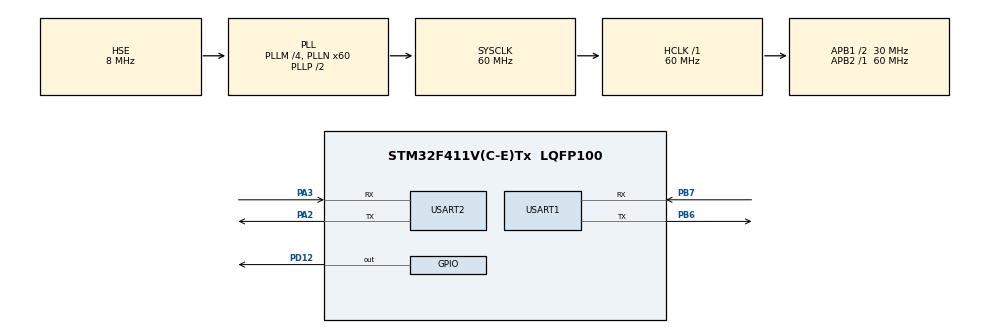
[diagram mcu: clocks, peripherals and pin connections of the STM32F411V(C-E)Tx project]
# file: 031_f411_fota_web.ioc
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Mcu.Family=STM32F4
Mcu.Name=STM32F411V(C-E)Tx
Mcu.Package=LQFP100
NVIC.PriorityGroup=NVIC_PRIORITYGROUP_4
NVIC.USART1_IRQn=true\:0\:0\:false\:false\:true\:true\:true\:true
NVIC.USART2_IRQn=true\:0\:0\:false\:false\:true\:true\:true\:true
PA13.Mode=Serial_Wire
PA13.Signal=SYS_JTMS-SWDIO
PA14.Mode=Serial_Wire
PA14.Signal=SYS_JTCK-SWCLK
PA2.Mode=Asynchronous
PA2.Signal=USART2_TX
PA3.Mode=Asynchronous
PA3.Signal=USART2_RX
PB6.Mode=Asynchronous
PB6.Signal=USART1_TX
PB7.Mode=Asynchronous
PB7.Signal=USART1_RX
PD12.Signal=GPIO_Output
PH0\ -\ OSC_IN.Mode=HSE-External-Oscillator
PH0\ -\ OSC_IN.Signal=RCC_OSC_IN
PH1\ -\ OSC_OUT.Mode=HSE-External-Oscillator
PH1\ -\ OSC_OUT.Signal=RCC_OSC_OUT
ProjectManager.HeapSize=0x200
ProjectManager.StackSize=0x400
ProjectManager.TargetToolchain=STM32CubeIDE
RCC.48MHZClocksFreq_Value=30000000
RCC.AHBFreq_Value=60000000
RCC.APB1CLKDivider=RCC_HCLK_DIV2
RCC.APB1Freq_Value=30000000
RCC.APB1TimFreq_Value=60000000
RCC.APB2Freq_Value=60000000
RCC.APB2TimFreq_Value=60000000
RCC.CortexFreq_Value=60000000
RCC.HCLKFreq_Value=60000000
RCC.HSE_VALUE=8000000
RCC.HSI_VALUE=16000000
RCC.LSE_VALUE=32768
RCC.PLLM=4
RCC.PLLN=60
RCC.PLLSourceVirtual=RCC_PLLSOURCE_HSE
RCC.SYSCLKFreq_VALUE=60000000
RCC.SYSCLKSource=RCC_SYSCLKSOURCE_PLLCLK
RCC.VCOOutputFreq_Value=120000000
USART1.VirtualMode=VM_ASYNC
USART2.VirtualMode=VM_ASYNC
board=custom

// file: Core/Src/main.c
/* USER CODE BEGIN Header */
/**
 ******************************************************************************
 * @file           : main.c
 * @brief          : Main program body
 ******************************************************************************
 * @attention
 *
 * Copyright (c) 2023 STMicroelectronics.
 * All rights reserved.
 *
 * This software is licensed under terms that can be found in the LICENSE file
 * in the root directory of this software component.
 * If no LICENSE file comes with this software, it is provided AS-IS.
 *
 ******************************************************************************
 */
/* USER CODE END Header */
#include "main.h"

/* USER CODE BEGIN Includes */
#include "UartRingbuffer_multi.h"
#include "ESP8266_HAL.h"
#include "parse.h"
#include <string.h>
/* USER CODE END Includes */

/* USER CODE BEGIN PD */
#define SSID "Tho"
#define PASSWORD "12345678"
#define FLASH_ADDRESS_BASE 0x40023C00
#define SECTOR_A 0x08008000 // Sector 2
#define SECTOR_B 0x0800C000 // Sector 3
/* USER CODE END PD */

UART_HandleTypeDef huart1;
UART_HandleTypeDef huart2;

/* USER CODE BEGIN PV */
#define pc_uart &huart1

char recv_buf[2048] = { 0 };
char lat_ver[128] = { 0 };
char fw_buf[1024] = { 0 };
char new = 0;
char current_sector = 0;
/* USER CODE END PV */

void SystemClock_Config(void);
static void MX_GPIO_Init(void);
static void MX_USART2_UART_Init(void);
static void MX_USART1_UART_Init(void);
/* USER CODE BEGIN PFP */
void leds_init() {
	__HAL_RCC_GPIOD_CLK_ENABLE();
	uint32_t *GPIOD_MODER = (uint32_t*) (0x40020C00 + 0x00);
	uint32_t *GPIOD_OTYPER = (uint32_t*) (0x40020C00 + 0x04);
	/* set up PD12, 13, 14, 15 in OUTPUT */
	*GPIOD_MODER &= ~(0xff << 24);
	*GPIOD_MODER |= (0b01 << 24) | (0b01 << 26) | (0b01 << 28) | (0b01 << 30);
	/* set up PD12, 13, 14, 15 in push-pull */
	*GPIOD_OTYPER &= ~(0b1111 << 12);
}

void print_pc(char *str) {
	Uart_sendstring(str, pc_uart);
}

int Erase(int sector_num) {
	if ((sector_num < 0) | (sector_num > 7))
		return -1;
	//1. Check that no flash memory operation is ongoing by checking the BSY bit in the FLASH_SR register
	uint32_t *FLASH_SR = (uint32_t*) (FLASH_ADDRESS_BASE + 0x0c);
	// Wait while the BSY bit is still 1
	while (((*FLASH_SR >> 16) & 1) == 1)
		;
	//2. Set the SER bit and select the sector out of the 12 sectors in the main memory block you wish to erase (SNB) in the FLASH_CR register
	uint32_t *FLASH_CR = (uint32_t*) (FLASH_ADDRESS_BASE + 0x10);
	// After reset, FLASH_CR is locked, have to unlock to config it
	// Check if the CR is locked
	if (((*FLASH_CR >> 31) & 1) == 1) {
		// Make unlock sequence
		uint32_t *FLASH_KEYR = (uint32_t*) (FLASH_ADDRESS_BASE + 0x04);
		*FLASH_KEYR = 0x45670123;
		*FLASH_KEYR = 0xCDEF89AB;
	}
	*FLASH_CR |= 1 << 1; // Set SER bit
	*FLASH_CR &= ~(0b1111 << 3); // Reset SNB value
	*FLASH_CR |= sector_num << 3; // Write SNB value
	//3. Set the STRT bit in the FLASH_CR register
	*FLASH_CR |= 1 << 16;
	//4. Wait for the BSY bit to be cleared
	while (((*FLASH_SR >> 16) & 1) == 1)
		;
	// Careful coder
	*FLASH_CR &= ~(1 << 1); // Reset SER bit
	return 0;
}

void Program(char *address, char *data, int data_size) {
	//1. Check that no main Flash memory operation is ongoing by checking the BSY bit in the FLASH_SR register
	uint32_t *FLASH_SR = (uint32_t*) (FLASH_ADDRESS_BASE + 0x0c);
	// Wait while the BSY bit is still 1
	while (((*FLASH_SR >> 16) & 1) == 1)
		;
	//2. Set the PG bit in the FLASH_CR register
	uint32_t *FLASH_CR = (uint32_t*) (FLASH_ADDRESS_BASE + 0x10);
	// After reset, FLASH_CR is locked, have to unlock to config it
	// Check if the CR is locked
	if (((*FLASH_CR >> 31) & 1) == 1) {
		// Make unlock sequence
		uint32_t *FLASH_KEYR = (uint32_t*) (FLASH_ADDRESS_BASE + 0x04);
		*FLASH_KEYR = 0x45670123;
		*FLASH_KEYR = 0xCDEF89AB;
	}
	*FLASH_CR |= 1 << 0; // Set PG bit
	//todo	3. Perform the data write operation(s) to the desired memory address (inside main memory block or OTP area):
	for (int i = 0; i < data_size; i++) {
		address[i] = data[i];
	}
	//4. Wait for the BSY bit to be cleared
	while (((*FLASH_SR >> 16) & 1) == 1)
		;
	// Careful coder
	*FLASH_CR &= ~(1 << 0); // Reset PG bit
}

void system_reset() {
	uint32_t *AIRCR = (uint32_t*) 0xE000ED0C;
	*AIRCR = (0x5fa << 16) | (1 << 2);
}

void firmware_update() {
	print_pc("Starting update\r\n");
	if (current_sector == 2) {
		Erase(3);
		print_pc("Erased sector 3 (B)\r\n");
		Program((char*) SECTOR_B, (char*) fw_buf, sizeof(fw_buf));
		print_pc("Programmed into sector 3 (B)\r\n");
	} else if ((current_sector == 3) | (current_sector == 0)) {
		Erase(2);
		print_pc("Erased sector 2 (A)\r\n");
		Program((char*) SECTOR_A, (char*) fw_buf, sizeof(fw_buf));
		print_pc("Programmed into sector 2 (A)\r\n");
	}
	print_pc("Resetting system\r\n");
	HAL_Delay(100);
	system_reset();
}
/* USER CODE END PFP */

/* USER CODE BEGIN 0 */
// Some tests
//char src_buf[]="Hel\r\n\r\n+IPD,30:lo\0 world\r\n\r\n+IPD,22:,\r\n this is \r\n\r\n+IPD,12:my string\r\nCLOSED\r\n";
//char dst_buf[100]={0};
/* USER CODE END 0 */

int main(void) {

	/* MCU Configuration--------------------------------------------------------*/

	/* Reset of all peripherals, Initializes the Flash interface and the Systick. */
	HAL_Init();

	/* Configure the system clock */
	SystemClock_Config();

	/* Initialize all configured peripherals */
	MX_GPIO_Init();
	MX_USART2_UART_Init();
	MX_USART1_UART_Init();
	/* USER CODE BEGIN 2 */
	leds_init();
	Ringbuf_init();
	print_pc("Bootloader initiated\r\n");

	ESP_Init(SSID, PASSWORD);
	print_pc("Connected to wifi\r\n");

	// Get latest firmware's name from server
	memset(recv_buf, 0, sizeof(recv_buf));
	ESP_Get_Latest_Version(recv_buf);
	memset(lat_ver, 0, sizeof(lat_ver));
	version_parse(lat_ver, recv_buf);
	print_pc("Got latest file name\r\n");

	// Check the 2 current version
	uint32_t *reset_handler_address;
	void (*reset_handler_function)();
	uint32_t *vers_secta = (uint32_t*) (SECTOR_A + 0x198);
	uint32_t *vers_sectb = (uint32_t*) (SECTOR_B + 0x198);
	if (((*vers_secta > *vers_sectb) & (*vers_secta != 0xffffffff))
			| ((*vers_secta != 0xffffffff) & (*vers_sectb == 0xffffffff))) {
		reset_handler_address = (uint32_t*) (SECTOR_A + 0x4);
		current_sector = 2;
	} else if (((*vers_secta < *vers_sectb) & (*vers_sectb != 0xffffffff))
			| ((*vers_sectb != 0xffffffff) & (*vers_secta == 0xffffffff))) {
		reset_handler_address = (uint32_t*) (SECTOR_B + 0x4);
		current_sector = 3;
	} else if (current_sector == 0) {
		print_pc("There is no app\r\n");
	} else {
		reset_handler_address = (uint32_t*) (SECTOR_A + 0x4);
		current_sector = 2;
	}
	print_pc("Got current version\r\n");

	// Get latest firmware's content from server
	memset(recv_buf, 0, sizeof(recv_buf));
	ESP_Get_Firmware(recv_buf, lat_ver);
	memset(fw_buf, 0, sizeof(fw_buf));
	firmware_parse(fw_buf, recv_buf, sizeof(recv_buf));
	print_pc("Downloaded firmware file\r\n");

	// Check if the firmware on the web is newer than the current one or not
	new=0;
	uint32_t *vers_web = 0;
	vers_web = &fw_buf[0x198];
	if ((current_sector == 2)
			& ((*vers_web > *vers_secta) | (*vers_secta == 0xffffffff))) {
		new = 1;
	} else if ((current_sector == 3)
			& ((*vers_web > *vers_sectb) | (*vers_sectb == 0xffffffff))) {
		new = 1;
	} else if ((current_sector == 0) & (*vers_web != 0))
		new = 1;

	// If there is newer firmware, download and update
	if (new) {
		print_pc("The web firmware is newer, going to update\r\n");
		// Reset the new firmware flag
		new = 0;
		// Call update firmware function
		firmware_update();
	}
	reset_handler_function = (void*) *reset_handler_address;
	if (current_sector != 0) {
		reset_handler_function();
	}
	// Some tests
//	memset(dst_buf,0,sizeof(dst_buf));
//	firmware_parse(dst_buf, src_buf, sizeof(rcv_buf));
	/* USER CODE END 2 */

	/* Infinite loop */
	while (1) {

		/* USER CODE BEGIN 3 */
		HAL_GPIO_TogglePin(GPIOD, GPIO_PIN_15);
		HAL_Delay(500);
	}
	/* USER CODE END 3 */
}

void SystemClock_Config(void) {
	RCC_OscInitTypeDef RCC_OscInitStruct = { 0 };
	RCC_ClkInitTypeDef RCC_ClkInitStruct = { 0 };

	/** Configure the main internal regulator output voltage
	 */
	__HAL_RCC_PWR_CLK_ENABLE();
	__HAL_PWR_VOLTAGESCALING_CONFIG(PWR_REGULATOR_VOLTAGE_SCALE1);

	/** Initializes the RCC Oscillators according to the specified parameters
	 * in the RCC_OscInitTypeDef structure.
	 */
	RCC_OscInitStruct.OscillatorType = RCC_OSCILLATORTYPE_HSE;
	RCC_OscInitStruct.HSEState = RCC_HSE_ON;
	RCC_OscInitStruct.PLL.PLLState = RCC_PLL_ON;
	RCC_OscInitStruct.PLL.PLLSource = RCC_PLLSOURCE_HSE;
	RCC_OscInitStruct.PLL.PLLM = 4;
	RCC_OscInitStruct.PLL.PLLN = 60;
	RCC_OscInitStruct.PLL.PLLP = RCC_PLLP_DIV2;
	RCC_OscInitStruct.PLL.PLLQ = 4;
	if (HAL_RCC_OscConfig(&RCC_OscInitStruct) != HAL_OK) {
		Error_Handler();
	}

	/** Initializes the CPU, AHB and APB buses clocks
	 */
	RCC_ClkInitStruct.ClockType = RCC_CLOCKTYPE_HCLK | RCC_CLOCKTYPE_SYSCLK
			| RCC_CLOCKTYPE_PCLK1 | RCC_CLOCKTYPE_PCLK2;
	RCC_ClkInitStruct.SYSCLKSource = RCC_SYSCLKSOURCE_PLLCLK;
	RCC_ClkInitStruct.AHBCLKDivider = RCC_SYSCLK_DIV1;
	RCC_ClkInitStruct.APB1CLKDivider = RCC_HCLK_DIV2;
	RCC_ClkInitStruct.APB2CLKDivider = RCC_HCLK_DIV1;

	if (HAL_RCC_ClockConfig(&RCC_ClkInitStruct, FLASH_LATENCY_1) != HAL_OK) {
		Error_Handler();
	}
}

static void MX_USART1_UART_Init(void) {

	huart1.Instance = USART1;
	huart1.Init.BaudRate = 115200;
	huart1.Init.WordLength = UART_WORDLENGTH_8B;
	huart1.Init.StopBits = UART_STOPBITS_1;
	huart1.Init.Parity = UART_PARITY_NONE;
	huart1.Init.Mode = UART_MODE_TX_RX;
	huart1.Init.HwFlowCtl = UART_HWCONTROL_NONE;
	huart1.Init.OverSampling = UART_OVERSAMPLING_16;
	if (HAL_UART_Init(&huart1) != HAL_OK) {
		Error_Handler();
	}

}

static void MX_USART2_UART_Init(void) {

	huart2.Instance = USART2;
	huart2.Init.BaudRate = 115200;
	huart2.Init.WordLength = UART_WORDLENGTH_8B;
	huart2.Init.StopBits = UART_STOPBITS_1;
	huart2.Init.Parity = UART_PARITY_NONE;
	huart2.Init.Mode = UART_MODE_TX_RX;
	huart2.Init.HwFlowCtl = UART_HWCONTROL_NONE;
	huart2.Init.OverSampling = UART_OVERSAMPLING_16;
	if (HAL_UART_Init(&huart2) != HAL_OK) {
		Error_Handler();
	}

}

static void MX_GPIO_Init(void) {
	GPIO_InitTypeDef GPIO_InitStruct = { 0 };

	/* GPIO Ports Clock Enable */
	__HAL_RCC_GPIOH_CLK_ENABLE();
	__HAL_RCC_GPIOA_CLK_ENABLE();
	__HAL_RCC_GPIOD_CLK_ENABLE();
	__HAL_RCC_GPIOB_CLK_ENABLE();

	/*Configure GPIO pin Output Level */
	HAL_GPIO_WritePin(GPIOD, GPIO_PIN_12, GPIO_PIN_RESET);

	/*Configure GPIO pin : PD12 */
	GPIO_InitStruct.Pin = GPIO_PIN_12;
	GPIO_InitStruct.Mode = GPIO_MODE_OUTPUT_PP;
	GPIO_InitStruct.Pull = GPIO_NOPULL;
	GPIO_InitStruct.Speed = GPIO_SPEED_FREQ_LOW;
	HAL_GPIO_Init(GPIOD, &GPIO_InitStruct);

}

void Error_Handler(void) {
	__disable_irq();
	while (1) {
	}
}
